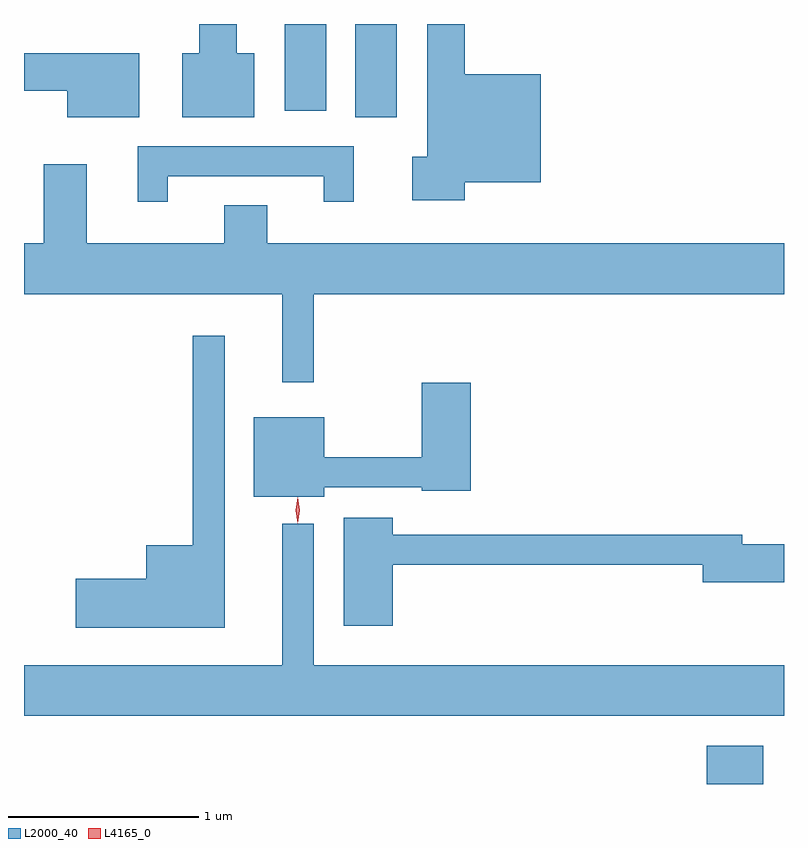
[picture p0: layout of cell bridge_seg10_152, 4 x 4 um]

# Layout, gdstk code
import gdstk
lib = gdstk.Library(unit=1e-6, precision=1e-09)
def R(c, l, rs):  # rectangles x0, y0, x1, y1
    for r in rs: c.add(gdstk.rectangle(r[:2], r[2:], *l))
def P(c, l, *ps):  # polygons
    for p in ps: c.add(gdstk.Polygon(p, *l))
L2000_40 = (2000, 40)
L4165_0 = (4165, 0)

bridge_seg10_152 = lib.new_cell('bridge_seg10_152')
R(bridge_seg10_152, L2000_40, [(1570.966,2086.918,1571.264,2087.119), (1569.116,2090.426,1569.334,2090.918), (1568.746,2090.461,1568.964,2090.918)])
P(bridge_seg10_152, L2000_40, [(1569.694,2090.086),(1570.094,2090.086),(1570.094,2090.654),(1569.694,2090.654),(1569.694,2090.918),(1569.496,2090.918),(1569.496,2090.219),(1569.416,2090.219),(1569.416,2089.991),(1569.694,2089.991)],
  [(1568.584,2090.764),(1568.494,2090.764),(1568.494,2090.918),(1568.296,2090.918),(1568.296,2090.764),(1568.206,2090.764),(1568.206,2090.426),(1568.584,2090.426)],
  [(1567.979,2090.764),(1567.373,2090.764),(1567.373,2090.566),(1567.601,2090.566),(1567.601,2090.426),(1567.979,2090.426)],
  [(1568.129,2090.116),(1568.951,2090.116),(1568.951,2089.983),(1569.109,2089.983),(1569.109,2090.274),(1567.971,2090.274),(1567.971,2089.983),(1568.129,2089.983)],
  [(1568.899,2089.496),(1571.373,2089.496),(1571.373,2089.764),(1568.654,2089.764),(1568.654,2089.964),(1568.426,2089.964),(1568.426,2089.764),(1567.704,2089.764),(1567.704,2090.179),(1567.476,2090.179),(1567.476,2089.764),(1567.373,2089.764),(1567.373,2089.496),(1568.731,2089.496),(1568.731,2089.033),(1568.899,2089.033)],
  [(1568.429,2089.278),(1568.261,2089.278),(1568.261,2088.174),(1568.016,2088.174),(1568.016,2087.999),(1567.646,2087.999),(1567.646,2087.741),(1568.429,2087.741)],
  [(1568.954,2088.481),(1569.466,2088.481),(1569.466,2088.461),(1569.724,2088.461),(1569.724,2089.029),(1569.466,2089.029),(1569.466,2088.639),(1568.954,2088.639),(1568.954,2088.849),(1568.581,2088.849),(1568.581,2088.431),(1568.954,2088.431)],
  [(1569.314,2088.071),(1570.946,2088.071),(1570.946,2087.981),(1571.373,2087.981),(1571.373,2088.179),(1571.154,2088.179),(1571.154,2088.229),(1569.314,2088.229),(1569.314,2088.319),(1569.056,2088.319),(1569.056,2087.751),(1569.314,2087.751)],
  [(1571.373,2087.544),(1568.899,2087.544),(1568.899,2088.288),(1568.731,2088.288),(1568.731,2087.544),(1567.373,2087.544),(1567.373,2087.276),(1571.373,2087.276)])
P(bridge_seg10_152, L4165_0, [(1568.815,2088.289),(1568.814,2088.29),(1568.804,2088.358),(1568.813,2088.426),(1568.814,2088.426),(1568.814,2088.426),(1568.824,2088.358),(1568.815,2088.29)],
  [(1568.814,2088.293),(1568.804,2088.357),(1568.813,2088.42),(1568.814,2088.421),(1568.814,2088.42),(1568.824,2088.357),(1568.815,2088.293),(1568.815,2088.293)])

lib.write_gds('bridge_seg10_152.gds')
